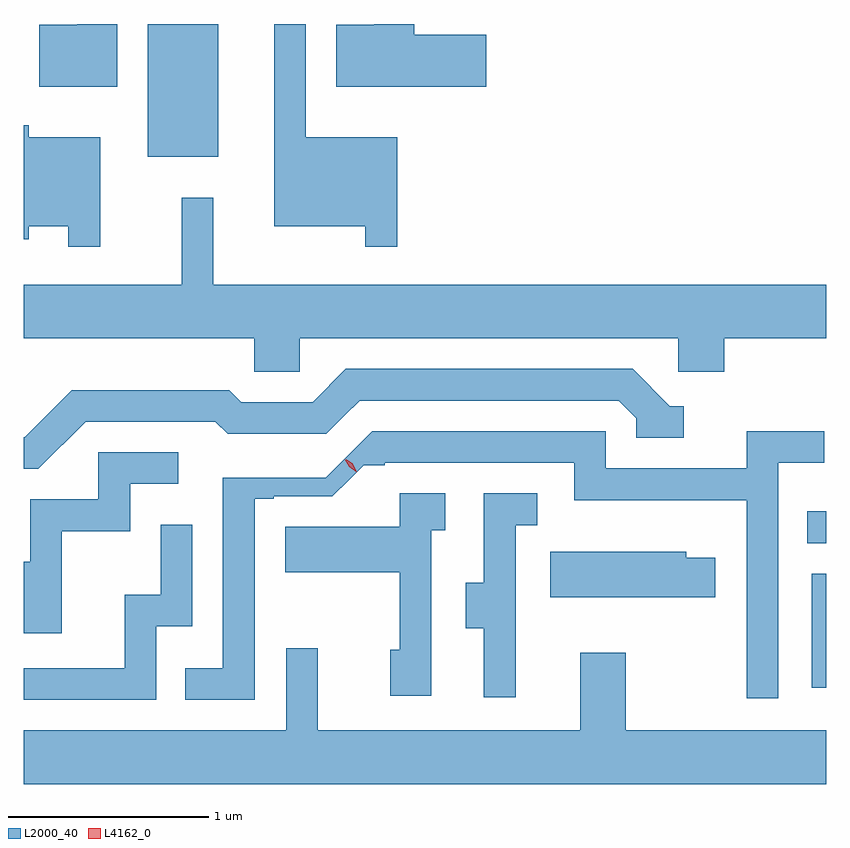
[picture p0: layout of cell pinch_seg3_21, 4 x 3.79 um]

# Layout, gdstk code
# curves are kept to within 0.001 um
import gdstk
lib = gdstk.Library(unit=1e-6, precision=1e-09)
def R(c, l, rs):  # rectangles x0, y0, x1, y1
    for r in rs: c.add(gdstk.rectangle(r[:2], r[2:], *l))
def P(c, l, *ps):  # polygons
    for p in ps: c.add(gdstk.Polygon(p, *l))
L2000_40 = (2000, 40)
L4162_0 = (4162, 0)

pinch_seg3_21 = lib.new_cell('pinch_seg3_21')
R(pinch_seg3_21, L2000_40, [(1883.966,1188.656,1884.038,1189.224), (1883.943,1189.376,1884.038,1189.534), (1880.656,1191.301,1881.009,1191.963)])
P(pinch_seg3_21, L2000_40, [(1882.344,1191.909),(1881.984,1191.909),(1881.984,1191.963),(1881.786,1191.963),(1881.786,1191.959),(1881.596,1191.959),(1881.596,1191.651),(1882.344,1191.651)],
  [(1880.504,1191.963),(1880.306,1191.963),(1880.306,1191.959),(1880.116,1191.959),(1880.116,1191.651),(1880.504,1191.651)],
  [(1881.899,1191.399),(1881.444,1191.399),(1881.444,1191.963),(1881.286,1191.963),(1881.286,1190.956),(1881.741,1190.956),(1881.741,1190.853),(1881.899,1190.853)],
  [(1880.419,1191.399),(1880.064,1191.399),(1880.064,1191.459),(1880.038,1191.459),(1880.038,1190.891),(1880.064,1190.891),(1880.064,1190.956),(1880.261,1190.956),(1880.261,1190.853),(1880.419,1190.853)],
  [(1881.414,1190.396),(1883.301,1190.396),(1883.301,1190.231),(1883.529,1190.231),(1883.529,1190.396),(1884.038,1190.396),(1884.038,1190.664),(1880.984,1190.664),(1880.984,1191.098),(1880.826,1191.098),(1880.826,1190.664),(1880.038,1190.664),(1880.038,1190.396),(1881.186,1190.396),(1881.186,1190.231),(1881.414,1190.231)],
  [(1880.347,1189.981),(1880.994,1189.981),(1881.054,1189.921),(1881.547,1189.921),(1881.712,1190.086),(1883.004,1190.086),(1883.091,1189.999),(1883.091,1189.901),(1883.328,1189.901),(1883.328,1190.059),(1883.257,1190.059),(1883.072,1190.244),(1881.644,1190.244),(1881.479,1190.079),(1881.122,1190.079),(1881.062,1190.139),(1880.279,1190.139),(1880.044,1189.904),(1880.038,1189.904),(1880.038,1189.746),(1880.112,1189.746)],
  [(1881.189,1189.598),(1881.285,1189.598),(1881.285,1189.609),(1881.577,1189.609),(1881.734,1189.765),(1881.837,1189.765),(1881.837,1189.776),(1882.781,1189.776),(1882.781,1189.591),(1883.641,1189.591),(1883.641,1188.603),(1883.799,1188.603),(1883.799,1189.776),(1884.028,1189.776),(1884.028,1189.934),(1883.641,1189.934),(1883.641,1189.749),(1882.939,1189.749),(1882.939,1189.934),(1881.776,1189.934),(1881.543,1189.702),(1881.031,1189.702),(1881.031,1188.754),(1880.843,1188.754),(1880.843,1188.596),(1881.189,1188.596)],
  [(1880.229,1189.436),(1880.569,1189.436),(1880.569,1189.671),(1880.808,1189.671),(1880.808,1189.829),(1880.411,1189.829),(1880.411,1189.594),(1880.071,1189.594),(1880.071,1189.284),(1880.038,1189.284),(1880.038,1188.926),(1880.229,1188.926)],
  [(1882.489,1189.466),(1882.598,1189.466),(1882.598,1189.624),(1882.331,1189.624),(1882.331,1189.179),(1882.241,1189.179),(1882.241,1188.951),(1882.331,1188.951),(1882.331,1188.608),(1882.489,1188.608)],
  [(1882.069,1189.441),(1882.139,1189.441),(1882.139,1189.624),(1881.911,1189.624),(1881.911,1189.459),(1881.341,1189.459),(1881.341,1189.231),(1881.911,1189.231),(1881.911,1188.844),(1881.866,1188.844),(1881.866,1188.616),(1882.069,1188.616)],
  [(1880.699,1188.961),(1880.879,1188.961),(1880.879,1189.468),(1880.721,1189.468),(1880.721,1189.119),(1880.541,1189.119),(1880.541,1188.754),(1880.038,1188.754),(1880.038,1188.596),(1880.699,1188.596)],
  [(1883.484,1189.304),(1883.339,1189.304),(1883.339,1189.334),(1882.661,1189.334),(1882.661,1189.106),(1883.484,1189.106)],
  [(1884.038,1188.444),(1883.039,1188.444),(1883.039,1188.829),(1882.811,1188.829),(1882.811,1188.444),(1881.504,1188.444),(1881.504,1188.853),(1881.346,1188.853),(1881.346,1188.444),(1880.038,1188.444),(1880.038,1188.176),(1884.038,1188.176)])
P(pinch_seg3_21, L4162_0, [(1881.697,1189.73),(1881.661,1189.756),(1881.639,1189.794),(1881.639,1189.795),(1881.639,1189.795),(1881.676,1189.77),(1881.698,1189.731),(1881.698,1189.73)],
  [(1881.695,1189.737),(1881.663,1189.758),(1881.645,1189.792),(1881.645,1189.793),(1881.646,1189.793),(1881.678,1189.772),(1881.696,1189.738),(1881.696,1189.737)])

lib.write_gds('pinch_seg3_21.gds')
